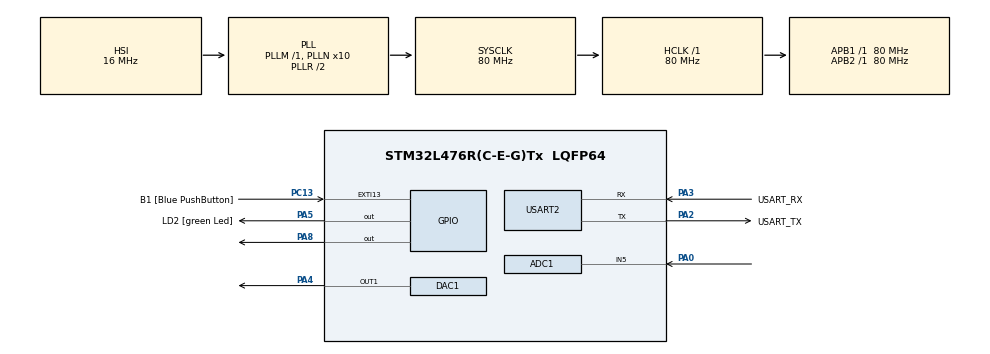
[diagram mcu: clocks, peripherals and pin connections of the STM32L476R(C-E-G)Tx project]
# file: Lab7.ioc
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ADC1.Channel-0\#ChannelRegularConversion=ADC_CHANNEL_5
ADC1.DMAContinuousRequests=ENABLE
ADC1.ExternalTrigConv=ADC_EXTERNALTRIG_T6_TRGO
ADC1.NbrOfConversionFlag=1
ADC1.OffsetNumber-0\#ChannelRegularConversion=ADC_OFFSET_NONE
ADC1.Rank-0\#ChannelRegularConversion=1
ADC1.SamplingTime-0\#ChannelRegularConversion=ADC_SAMPLETIME_2CYCLES_5
ADC1.master=1
DAC1.DAC_Trigger-DAC_OUT1=DAC_TRIGGER_T6_TRGO
Dma.ADC1.0.Direction=DMA_PERIPH_TO_MEMORY
Dma.ADC1.0.Instance=DMA1_Channel1
Dma.ADC1.0.MemDataAlignment=DMA_MDATAALIGN_HALFWORD
Dma.ADC1.0.MemInc=DMA_MINC_ENABLE
Dma.ADC1.0.Mode=DMA_CIRCULAR
Dma.ADC1.0.PeriphDataAlignment=DMA_PDATAALIGN_HALFWORD
Dma.ADC1.0.PeriphInc=DMA_PINC_DISABLE
Dma.ADC1.0.Priority=DMA_PRIORITY_LOW
Dma.DAC_CH1.1.Direction=DMA_MEMORY_TO_PERIPH
Dma.DAC_CH1.1.Instance=DMA1_Channel3
Dma.DAC_CH1.1.MemDataAlignment=DMA_MDATAALIGN_HALFWORD
Dma.DAC_CH1.1.MemInc=DMA_MINC_ENABLE
Dma.DAC_CH1.1.Mode=DMA_CIRCULAR
Dma.DAC_CH1.1.PeriphDataAlignment=DMA_PDATAALIGN_HALFWORD
Dma.DAC_CH1.1.PeriphInc=DMA_PINC_DISABLE
Dma.DAC_CH1.1.Priority=DMA_PRIORITY_LOW
Dma.Request0=ADC1
Dma.Request1=DAC_CH1
Mcu.Family=STM32L4
Mcu.Name=STM32L476R(C-E-G)Tx
Mcu.Package=LQFP64
NVIC.DMA1_Channel1_IRQn=true\:0\:0\:false\:false\:true\:false\:true\:true
NVIC.DMA1_Channel3_IRQn=true\:0\:0\:false\:false\:true\:false\:true\:true
NVIC.EXTI15_10_IRQn=true\:0\:0\:false\:false\:true\:true\:true\:true
NVIC.PriorityGroup=NVIC_PRIORITYGROUP_4
PA0.Signal=ADCx_IN5
PA13\ (JTMS-SWDIO).GPIO_Label=TMS
PA13\ (JTMS-SWDIO).Mode=Serial_Wire
PA13\ (JTMS-SWDIO).Signal=SYS_JTMS-SWDIO
PA14\ (JTCK-SWCLK).GPIO_Label=TCK
PA14\ (JTCK-SWCLK).Mode=Serial_Wire
PA14\ (JTCK-SWCLK).Signal=SYS_JTCK-SWCLK
PA2.GPIO_Label=USART_TX
PA2.GPIO_Mode=GPIO_MODE_AF_PP
PA2.GPIO_PuPd=GPIO_NOPULL
PA2.GPIO_Speed=GPIO_SPEED_FREQ_VERY_HIGH
PA2.Mode=Asynchronous
PA2.Signal=USART2_TX
PA3.GPIO_Label=USART_RX
PA3.GPIO_Mode=GPIO_MODE_AF_PP
PA3.GPIO_PuPd=GPIO_NOPULL
PA3.GPIO_Speed=GPIO_SPEED_FREQ_VERY_HIGH
PA3.Mode=Asynchronous
PA3.Signal=USART2_RX
PA4.Signal=COMP_DAC11_group
PA5.GPIO_Label=LD2 [green Led]
PA5.GPIO_ModeDefaultOutputPP=GPIO_MODE_OUTPUT_PP
PA5.GPIO_PuPd=GPIO_NOPULL
PA5.GPIO_Speed=GPIO_SPEED_FREQ_LOW
PA5.Signal=GPIO_Output
PA8.Signal=GPIO_Output
PB3\ (JTDO-TRACESWO).GPIO_Label=SWO
PB3\ (JTDO-TRACESWO).Signal=SYS_JTDO-SWO
PC13.GPIO_Label=B1 [Blue PushButton]
PC13.GPIO_ModeDefaultEXTI=GPIO_MODE_IT_RISING
PC13.GPIO_PuPd=GPIO_NOPULL
PC13.Signal=GPXTI13
PC14-OSC32_IN\ (PC14).Mode=LSE-External-Oscillator
PC14-OSC32_IN\ (PC14).Signal=RCC_OSC32_IN
PC15-OSC32_OUT\ (PC15).Mode=LSE-External-Oscillator
PC15-OSC32_OUT\ (PC15).Signal=RCC_OSC32_OUT
PH0-OSC_IN\ (PH0).Signal=RCC_OSC_IN
PH1-OSC_OUT\ (PH1).Signal=RCC_OSC_OUT
ProjectManager.HeapSize=0x200
ProjectManager.StackSize=0x400
ProjectManager.TargetToolchain=STM32CubeIDE
RCC.ADCFreq_Value=64000000
RCC.AHBFreq_Value=80000000
RCC.APB1Freq_Value=80000000
RCC.APB1TimFreq_Value=80000000
RCC.APB2Freq_Value=80000000
RCC.APB2TimFreq_Value=80000000
RCC.CortexFreq_Value=80000000
RCC.HCLKFreq_Value=80000000
RCC.HSE_VALUE=8000000
RCC.HSI_VALUE=16000000
RCC.MSI_VALUE=4000000
RCC.PLLN=10
RCC.PLLSourceVirtual=RCC_PLLSOURCE_HSI
RCC.PREFETCH_ENABLE=1
RCC.SYSCLKFreq_VALUE=80000000
RCC.SYSCLKSource=RCC_SYSCLKSOURCE_PLLCLK
RCC.USBFreq_Value=64000000
RCC.VCOOutputFreq_Value=160000000
SH.ADCx_IN5.0=ADC1_IN5,IN5-Single-Ended
SH.COMP_DAC11_group.0=DAC1_OUT1,DAC_OUT1
TIM6.Period=49
TIM6.Prescaler=79
TIM6.TIM_MasterOutputTrigger=TIM_TRGO_UPDATE
USART2.VirtualMode-Asynchronous=VM_ASYNC
VP_TIM6_VS_ClockSourceINT.Mode=Enable_Timer
board=NUCLEO-L476RG

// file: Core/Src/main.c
/* USER CODE BEGIN Header */
/**
  ******************************************************************************
  * @file           : main.c
  * @brief          : Main program body
  ******************************************************************************
  * @attention
  *
  * Copyright (c) 2025 STMicroelectronics.
  * All rights reserved.
  *
  * This software is licensed under terms that can be found in the LICENSE file
  * in the root directory of this software component.
  * If no LICENSE file comes with this software, it is provided AS-IS.
  *
  ******************************************************************************
  */
/* USER CODE END Header */
#include "main.h"

/* USER CODE BEGIN PD */
#define BUFFER_HALFSIZE 10000
#define BUFFER_SIZE 20000
#define COS_TABLE_LEN 50
/* USER CODE END PD */

ADC_HandleTypeDef hadc1;
DMA_HandleTypeDef hdma_adc1;

DAC_HandleTypeDef hdac1;
DMA_HandleTypeDef hdma_dac_ch1;

TIM_HandleTypeDef htim6;

UART_HandleTypeDef huart2;

/* USER CODE BEGIN PV */
uint16_t adc_buffer[BUFFER_SIZE];
uint16_t dac_buffer[BUFFER_SIZE];
static int16_t cos_table[COS_TABLE_LEN] = {
	32767,32702,32509,32187,31738,31163,30466,29648,28714,27666,26509,25247,23886,22431,20886,19260,17557,15786,13952,12062,10126,8149,6140,4107,2057,0,-2057,-4107,-6140,-8149,-10126,-12062,-13952,-15786,-17557,-19260,-20886,-22431,-23886,-25247,-26509,-27666,-28714,-29648,-30466,-31163,-31738,-32187,-32509,-32702,
};
/* USER CODE END PV */

void SystemClock_Config(void);
static void MX_GPIO_Init(void);
static void MX_DMA_Init(void);
static void MX_USART2_UART_Init(void);
static void MX_ADC1_Init(void);
static void MX_DAC1_Init(void);
static void MX_TIM6_Init(void);

int main(void)
{

  /* MCU Configuration--------------------------------------------------------*/

  /* Reset of all peripherals, Initializes the Flash interface and the Systick. */
  HAL_Init();

  /* Configure the system clock */
  SystemClock_Config();

  /* Initialize all configured peripherals */
  MX_GPIO_Init();
  MX_DMA_Init();
  MX_USART2_UART_Init();
  MX_ADC1_Init();
  MX_DAC1_Init();
  MX_TIM6_Init();
  /* USER CODE BEGIN 2 */
  HAL_TIM_Base_Start(&htim6);
  HAL_GPIO_WritePin(GPIOA, GPIO_PIN_8, GPIO_PIN_RESET);
  //HAL_ADC_Start_DMA(&hadc1, adc_buffer, BUFFER_SIZE);
  //HAL_DAC_Start_DMA(&hdac1, DAC_CHANNEL_1, dac_buffer, BUFFER_SIZE, DAC_ALIGN_12B_R);
  /* USER CODE END 2 */

  /* Infinite loop */
  while (1)
  {

  }
}

void SystemClock_Config(void)
{
  RCC_OscInitTypeDef RCC_OscInitStruct = {0};
  RCC_ClkInitTypeDef RCC_ClkInitStruct = {0};

  /** Configure the main internal regulator output voltage
  */
  if (HAL_PWREx_ControlVoltageScaling(PWR_REGULATOR_VOLTAGE_SCALE1) != HAL_OK)
  {
    Error_Handler();
  }

  /** Initializes the RCC Oscillators according to the specified parameters
  * in the RCC_OscInitTypeDef structure.
  */
  RCC_OscInitStruct.OscillatorType = RCC_OSCILLATORTYPE_HSI;
  RCC_OscInitStruct.HSIState = RCC_HSI_ON;
  RCC_OscInitStruct.HSICalibrationValue = RCC_HSICALIBRATION_DEFAULT;
  RCC_OscInitStruct.PLL.PLLState = RCC_PLL_ON;
  RCC_OscInitStruct.PLL.PLLSource = RCC_PLLSOURCE_HSI;
  RCC_OscInitStruct.PLL.PLLM = 1;
  RCC_OscInitStruct.PLL.PLLN = 10;
  RCC_OscInitStruct.PLL.PLLP = RCC_PLLP_DIV7;
  RCC_OscInitStruct.PLL.PLLQ = RCC_PLLQ_DIV2;
  RCC_OscInitStruct.PLL.PLLR = RCC_PLLR_DIV2;
  if (HAL_RCC_OscConfig(&RCC_OscInitStruct) != HAL_OK)
  {
    Error_Handler();
  }

  /** Initializes the CPU, AHB and APB buses clocks
  */
  RCC_ClkInitStruct.ClockType = RCC_CLOCKTYPE_HCLK|RCC_CLOCKTYPE_SYSCLK
                              |RCC_CLOCKTYPE_PCLK1|RCC_CLOCKTYPE_PCLK2;
  RCC_ClkInitStruct.SYSCLKSource = RCC_SYSCLKSOURCE_PLLCLK;
  RCC_ClkInitStruct.AHBCLKDivider = RCC_SYSCLK_DIV1;
  RCC_ClkInitStruct.APB1CLKDivider = RCC_HCLK_DIV1;
  RCC_ClkInitStruct.APB2CLKDivider = RCC_HCLK_DIV1;

  if (HAL_RCC_ClockConfig(&RCC_ClkInitStruct, FLASH_LATENCY_4) != HAL_OK)
  {
    Error_Handler();
  }
}

static void MX_ADC1_Init(void)
{

  ADC_MultiModeTypeDef multimode = {0};
  ADC_ChannelConfTypeDef sConfig = {0};

  /** Common config
  */
  hadc1.Instance = ADC1;
  hadc1.Init.ClockPrescaler = ADC_CLOCK_ASYNC_DIV1;
  hadc1.Init.Resolution = ADC_RESOLUTION_12B;
  hadc1.Init.DataAlign = ADC_DATAALIGN_RIGHT;
  hadc1.Init.ScanConvMode = ADC_SCAN_DISABLE;
  hadc1.Init.EOCSelection = ADC_EOC_SINGLE_CONV;
  hadc1.Init.LowPowerAutoWait = DISABLE;
  hadc1.Init.ContinuousConvMode = DISABLE;
  hadc1.Init.NbrOfConversion = 1;
  hadc1.Init.DiscontinuousConvMode = DISABLE;
  hadc1.Init.ExternalTrigConv = ADC_EXTERNALTRIG_T6_TRGO;
  hadc1.Init.ExternalTrigConvEdge = ADC_EXTERNALTRIGCONVEDGE_RISING;
  hadc1.Init.DMAContinuousRequests = ENABLE;
  hadc1.Init.Overrun = ADC_OVR_DATA_PRESERVED;
  hadc1.Init.OversamplingMode = DISABLE;
  if (HAL_ADC_Init(&hadc1) != HAL_OK)
  {
    Error_Handler();
  }

  /** Configure the ADC multi-mode
  */
  multimode.Mode = ADC_MODE_INDEPENDENT;
  if (HAL_ADCEx_MultiModeConfigChannel(&hadc1, &multimode) != HAL_OK)
  {
    Error_Handler();
  }

  /** Configure Regular Channel
  */
  sConfig.Channel = ADC_CHANNEL_5;
  sConfig.Rank = ADC_REGULAR_RANK_1;
  sConfig.SamplingTime = ADC_SAMPLETIME_2CYCLES_5;
  sConfig.SingleDiff = ADC_SINGLE_ENDED;
  sConfig.OffsetNumber = ADC_OFFSET_NONE;
  sConfig.Offset = 0;
  if (HAL_ADC_ConfigChannel(&hadc1, &sConfig) != HAL_OK)
  {
    Error_Handler();
  }

}

static void MX_DAC1_Init(void)
{

  DAC_ChannelConfTypeDef sConfig = {0};

  /** DAC Initialization
  */
  hdac1.Instance = DAC1;
  if (HAL_DAC_Init(&hdac1) != HAL_OK)
  {
    Error_Handler();
  }

  /** DAC channel OUT1 config
  */
  sConfig.DAC_SampleAndHold = DAC_SAMPLEANDHOLD_DISABLE;
  sConfig.DAC_Trigger = DAC_TRIGGER_T6_TRGO;
  sConfig.DAC_OutputBuffer = DAC_OUTPUTBUFFER_ENABLE;
  sConfig.DAC_ConnectOnChipPeripheral = DAC_CHIPCONNECT_DISABLE;
  sConfig.DAC_UserTrimming = DAC_TRIMMING_FACTORY;
  if (HAL_DAC_ConfigChannel(&hdac1, &sConfig, DAC_CHANNEL_1) != HAL_OK)
  {
    Error_Handler();
  }

}

static void MX_TIM6_Init(void)
{

  TIM_MasterConfigTypeDef sMasterConfig = {0};

  htim6.Instance = TIM6;
  htim6.Init.Prescaler = 79;
  htim6.Init.CounterMode = TIM_COUNTERMODE_UP;
  htim6.Init.Period = 49;
  htim6.Init.AutoReloadPreload = TIM_AUTORELOAD_PRELOAD_DISABLE;
  if (HAL_TIM_Base_Init(&htim6) != HAL_OK)
  {
    Error_Handler();
  }
  sMasterConfig.MasterOutputTrigger = TIM_TRGO_UPDATE;
  sMasterConfig.MasterSlaveMode = TIM_MASTERSLAVEMODE_DISABLE;
  if (HAL_TIMEx_MasterConfigSynchronization(&htim6, &sMasterConfig) != HAL_OK)
  {
    Error_Handler();
  }

}

static void MX_USART2_UART_Init(void)
{

  huart2.Instance = USART2;
  huart2.Init.BaudRate = 115200;
  huart2.Init.WordLength = UART_WORDLENGTH_8B;
  huart2.Init.StopBits = UART_STOPBITS_1;
  huart2.Init.Parity = UART_PARITY_NONE;
  huart2.Init.Mode = UART_MODE_TX_RX;
  huart2.Init.HwFlowCtl = UART_HWCONTROL_NONE;
  huart2.Init.OverSampling = UART_OVERSAMPLING_16;
  huart2.Init.OneBitSampling = UART_ONE_BIT_SAMPLE_DISABLE;
  huart2.AdvancedInit.AdvFeatureInit = UART_ADVFEATURE_NO_INIT;
  if (HAL_UART_Init(&huart2) != HAL_OK)
  {
    Error_Handler();
  }

}

static void MX_DMA_Init(void)
{

  /* DMA controller clock enable */
  __HAL_RCC_DMA1_CLK_ENABLE();

  /* DMA interrupt init */
  /* DMA1_Channel1_IRQn interrupt configuration */
  HAL_NVIC_SetPriority(DMA1_Channel1_IRQn, 0, 0);
  HAL_NVIC_EnableIRQ(DMA1_Channel1_IRQn);
  /* DMA1_Channel3_IRQn interrupt configuration */
  HAL_NVIC_SetPriority(DMA1_Channel3_IRQn, 0, 0);
  HAL_NVIC_EnableIRQ(DMA1_Channel3_IRQn);

}

static void MX_GPIO_Init(void)
{
  GPIO_InitTypeDef GPIO_InitStruct = {0};

  /* GPIO Ports Clock Enable */
  __HAL_RCC_GPIOC_CLK_ENABLE();
  __HAL_RCC_GPIOH_CLK_ENABLE();
  __HAL_RCC_GPIOA_CLK_ENABLE();
  __HAL_RCC_GPIOB_CLK_ENABLE();

  /*Configure GPIO pin Output Level */
  HAL_GPIO_WritePin(GPIOA, LD2_Pin|GPIO_PIN_8, GPIO_PIN_RESET);

  /*Configure GPIO pin : B1_Pin */
  GPIO_InitStruct.Pin = B1_Pin;
  GPIO_InitStruct.Mode = GPIO_MODE_IT_RISING;
  GPIO_InitStruct.Pull = GPIO_NOPULL;
  HAL_GPIO_Init(B1_GPIO_Port, &GPIO_InitStruct);

  /*Configure GPIO pins : LD2_Pin PA8 */
  GPIO_InitStruct.Pin = LD2_Pin|GPIO_PIN_8;
  GPIO_InitStruct.Mode = GPIO_MODE_OUTPUT_PP;
  GPIO_InitStruct.Pull = GPIO_NOPULL;
  GPIO_InitStruct.Speed = GPIO_SPEED_FREQ_LOW;
  HAL_GPIO_Init(GPIOA, &GPIO_InitStruct);

  /* EXTI interrupt init*/
  HAL_NVIC_SetPriority(EXTI15_10_IRQn, 0, 0);
  HAL_NVIC_EnableIRQ(EXTI15_10_IRQn);

}

/* USER CODE BEGIN 4 */
void processBuffer(uint16_t *inBuffer, uint16_t *outBuffer, uint16_t size) {
	int32_t x;
	uint8_t gain = 1;
	static uint16_t x_prev = 0;
	uint8_t nFrames = BUFFER_HALFSIZE / COS_TABLE_LEN;
	for (uint8_t fr = 0; fr < nFrames; fr++) {
		for (uint8_t i = 0; i < COS_TABLE_LEN; i++) {
			x = (int32_t) inBuffer[i + fr * COS_TABLE_LEN];
			x = x - x_prev;
			x = x * (int32_t) cos_table[i];
			x = x >> (15 - gain);
			outBuffer[i + fr * COS_TABLE_LEN] = (uint16_t) (x + 2048);
			x_prev = inBuffer[i + fr * COS_TABLE_LEN];
		}
	}

}
void HAL_GPIO_EXTI_Callback(uint16_t GPIO_Pin)
{
    HAL_ADC_Start_DMA(&hadc1, adc_buffer, BUFFER_SIZE);
}
void HAL_ADC_ConvHalfCpltCallback(ADC_HandleTypeDef *hadc) {
	//processBuffer(&adc_buffer[0],&dac_buffer[0], BUFFER_HALFSIZE);
}
void HAL_ADC_ConvCpltCallback(ADC_HandleTypeDef *hadc) {
	HAL_ADC_Stop_DMA(&hadc1);
	HAL_GPIO_WritePin(GPIOA, GPIO_PIN_8, GPIO_PIN_SET);
	processBuffer(&adc_buffer[BUFFER_HALFSIZE], &dac_buffer[BUFFER_HALFSIZE], BUFFER_SIZE);

	  for (int n = 0; n < BUFFER_SIZE; n++) {
	    dac_buffer[n] = adc_buffer[n];
	  }

    HAL_DAC_Start_DMA(&hdac1, DAC_CHANNEL_1, dac_buffer, BUFFER_SIZE, DAC_ALIGN_12B_R);

}

void HAL_DAC_ConvHalfCpltCallbackCh1(DAC_HandleTypeDef *hdac)
{
}
void HAL_DAC_ConvCpltCallbackCh1(DAC_HandleTypeDef *hdac)
{
  HAL_DAC_Stop_DMA(&hdac1, DAC_CHANNEL_1);
  HAL_GPIO_WritePin(GPIOA, GPIO_PIN_8, GPIO_PIN_RESET);
}
/* USER CODE END 4 */

void Error_Handler(void)
{
  __disable_irq();
  while (1)
  {
  }
}
